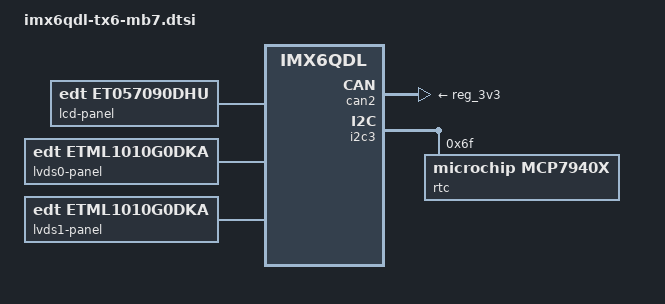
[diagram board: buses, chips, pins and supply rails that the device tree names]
// SPDX-License-Identifier: (GPL-2.0-only OR MIT)
/*
 * Copyright 2017 Lothar Waßmann <LW@KARO-electronics.de>
 */

/ {
	backlight0 {
		pwms = <&pwm1 0 500000 PWM_POLARITY_INVERTED>;
		power-supply = <&reg_lcd1_pwr>;
	};

	backlight1 {
		pwms = <&pwm2 0 500000 PWM_POLARITY_INVERTED>;
		power-supply = <&reg_lcd1_pwr>;
	};

	lcd-panel {
		compatible = "edt,et057090dhu";
		pixelclk-active = <0>;
	};

	lvds0-panel {
		compatible = "edt,etml1010g0dka";
		pixelclk-active = <0>;
	};

	lvds1-panel {
		compatible = "edt,etml1010g0dka";
		pixelclk-active = <0>;
	};
};

&can1 {
	status = "disabled";
};

&can2 {
	xceiver-supply = <&reg_3v3>;
};

&ds1339 {
	/*
	 * The backup voltage of the module internal RTC is not wired
	 * by default on the MB7, so disable that RTC chip.
	 */
	status = "disabled";
};

&i2c3 {
	rtc: rtc@6f {
		compatible = "microchip,mcp7940x";
		reg = <0x6f>;
	};
};

&reg_lcd0_pwr {
	status = "disabled";
};
